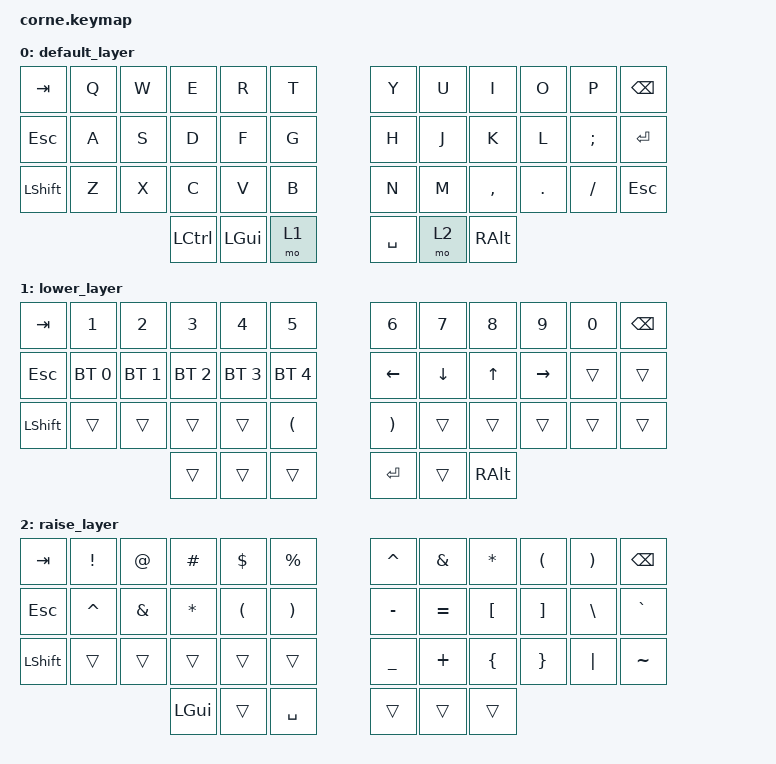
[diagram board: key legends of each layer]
/*
 * Copyright (c) 2020 The ZMK Contributors
 *
 * SPDX-License-Identifier: MIT
 */

#include <behaviors.dtsi>
#include <dt-bindings/zmk/keys.h>
#include <dt-bindings/zmk/bt.h>

/ {
        keymap {
                compatible = "zmk,keymap";

                default_layer {
// -----------------------------------------------------------------------------------------
// |  TAB |  Q  |  W  |  E  |  R  |  T  |   |  Y  |  U   |  I  |  O  |  P  | BKSP |
// |  ESC |  A  |  S  |  D  |  F  |  G  |   |  H  |  J   |  K  |  L  |  ;  |  '   |
// | SHFT |  Z  |  X  |  C  |  V  |  B  |   |  N  |  M   |  ,  |  .  |  /  | ESC  |
//                    | CTR | GUI | LWR |   | ENT | RSE  | ALT |
                        bindings = <
   &kp TAB   &kp Q &kp W &kp E &kp R &kp T   &kp Y &kp U  &kp I     &kp O   &kp P    &kp BSPC
   &kp ESC   &kp A &kp S &kp D &kp F &kp G   &kp H &kp J  &kp K     &kp L   &kp SEMI &kp RET
   &kp LSHFT &kp Z &kp X &kp C &kp V &kp B   &kp N &kp M  &kp COMMA &kp DOT &kp FSLH &kp ESC
                  &kp LCTRL &kp LGUI &mo 1       &kp SPC &mo 2 &kp RALT
                        >;
                };
                lower_layer {
// -----------------------------------------------------------------------------------------
// |  TAB |  1  |  2  |  3  |  4  |  5  |   |  6  |  7  |  8  |  9  |  0  | BKSP |
// |  ESC | BT1 | BT2 | BT3 | BT4 | BT5 |   | LFT | DWN |  UP | RGT |     |      |
// | SHFT |     |     |     |     |     |   |     |     |     |     |     |      |
//                    | GUI |     | SPC |   | ENT |     | ALT |
                        bindings = <
   &kp TAB    &kp N1       &kp N2       &kp N3       &kp N4       &kp N5         &kp N6   &kp N7   &kp N8 &kp N9    &kp N0 &kp BSPC
   &kp ESC    &bt BT_SEL 0 &bt BT_SEL 1 &bt BT_SEL 2 &bt BT_SEL 3 &bt BT_SEL 4   &kp LEFT &kp DOWN &kp UP &kp RIGHT &trans &trans
   &kp LSHFT  &trans       &trans       &trans       &trans       &kp LPAR       &kp RPAR &trans   &trans &trans    &trans &trans
                                    &trans       &trans       &trans         &kp RET  &trans   &kp RALT
                        >;
                };

                raise_layer {
// -----------------------------------------------------------------------------------------
// | TAB  |  !  |  @  |  #  |  $  |  %  |   |  ^  |  &  |  *  |  (  |  )  | BKSP |
// | ESC  |  ^  |  &  |  *  |  (  |  )  |   |  -  |  =  |  [  |  ]  |  \  |  `   |
// | SHFT |     |     |     |     |     |   |  _  |  +  |  {  |  }  | "|" |  ~   |
//                    | GUI |     | SPC |   |     |     |     |
                        bindings = <
   &kp TAB   &kp EXCL  &kp AT    &kp HASH  &kp DLLR &kp PRCNT   &kp CARET &kp AMPS  &kp ASTRK &kp LPAR &kp RPAR &kp BSPC
   &kp ESC   &kp CARET &kp AMPS  &kp ASTRK &kp LPAR &kp RPAR    &kp MINUS &kp EQUAL &kp LBKT  &kp RBKT &kp BSLH &kp GRAVE
   &kp LSHFT &trans    &trans    &trans    &trans   &trans      &kp UNDER &kp PLUS  &kp LBRC  &kp RBRC &kp PIPE &kp TILDE
                             &kp LGUI &trans   &kp SPACE   &trans    &trans    &trans  
                        >;
                };
        };
};
